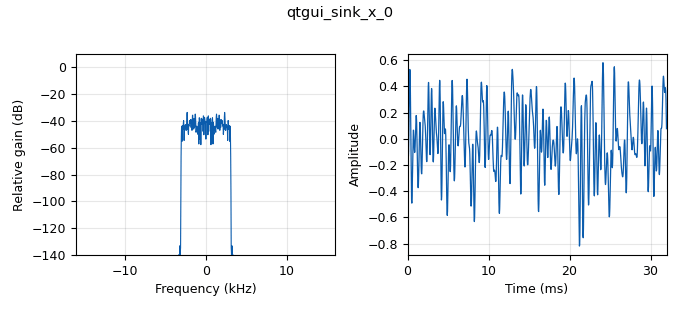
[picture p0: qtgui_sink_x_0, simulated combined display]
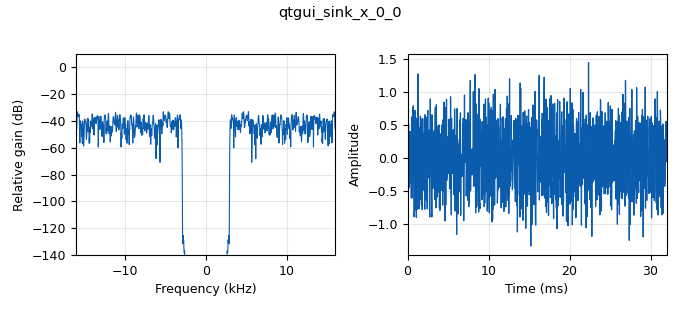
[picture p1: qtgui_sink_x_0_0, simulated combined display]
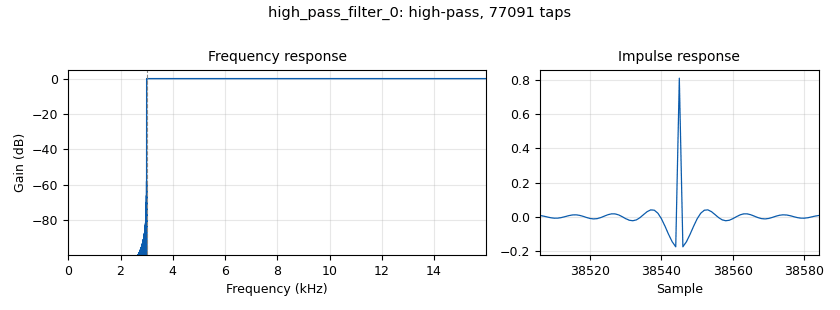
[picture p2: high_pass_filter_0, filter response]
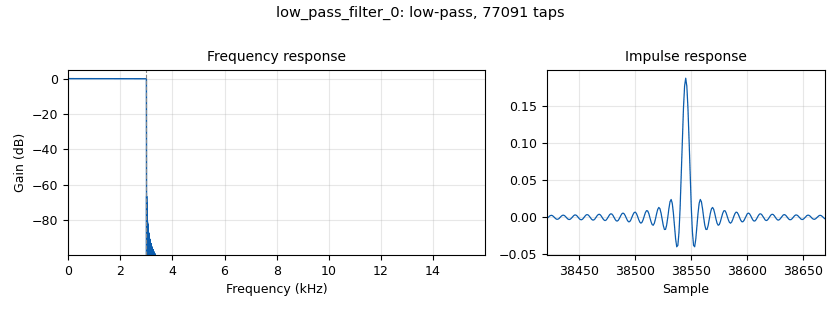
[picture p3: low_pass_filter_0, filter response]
<?xml version='1.0' encoding='utf-8'?>
<?grc format='1' created='3.7.10'?>
<flow_graph>
<block>
<key>options</key>
<param><key>id</key><value>top_block</value></param>
<param><key>category</key><value>Custom</value></param>
<param><key>generate_options</key><value>qt_gui</value></param>
</block>
<block>
<key>variable</key>
<param><key>id</key><value>samp_rate</value></param>
<param><key>value</key><value>32000</value></param>
</block>
<block>
<key>analog_noise_source_x</key>
<param><key>id</key><value>analog_noise_source_x_0</value></param>
<param><key>amp</key><value>1</value></param>
<param><key>noise_type</key><value>analog.GR_UNIFORM</value></param>
<param><key>type</key><value>float</value></param>
<param><key>seed</key><value>0</value></param>
</block>
<block>
<key>blocks_throttle</key>
<param><key>id</key><value>blocks_throttle_0</value></param>
<param><key>samples_per_second</key><value>samp_rate</value></param>
<param><key>type</key><value>float</value></param>
</block>
<block>
<key>high_pass_filter</key>
<param><key>id</key><value>high_pass_filter_0</value></param>
<param><key>cutoff_freq</key><value>3000</value></param>
<param><key>decim</key><value>1</value></param>
<param><key>type</key><value>fir_filter_fff</value></param>
<param><key>gain</key><value>1</value></param>
<param><key>samp_rate</key><value>samp_rate</value></param>
<param><key>width</key><value>1</value></param>
<param><key>win</key><value>firdes.WIN_HAMMING</value></param>
</block>
<block>
<key>low_pass_filter</key>
<param><key>id</key><value>low_pass_filter_0</value></param>
<param><key>cutoff_freq</key><value>3000</value></param>
<param><key>decim</key><value>1</value></param>
<param><key>type</key><value>fir_filter_fff</value></param>
<param><key>gain</key><value>1</value></param>
<param><key>samp_rate</key><value>samp_rate</value></param>
<param><key>width</key><value>1</value></param>
<param><key>win</key><value>firdes.WIN_HAMMING</value></param>
</block>
<block>
<key>qtgui_sink_x</key>
<param><key>id</key><value>qtgui_sink_x_0</value></param>
<param><key>bw</key><value>samp_rate</value></param>
<param><key>fc</key><value>0</value></param>
<param><key>freqchangevar</key><value>None</value></param>
<param><key>fftsize</key><value>1024</value></param>
<param><key>showports</key><value>True</value></param>
<param><key>type</key><value>float</value></param>
<param><key>wintype</key><value>firdes.WIN_BLACKMAN_hARRIS</value></param>
</block>
<block>
<key>qtgui_sink_x</key>
<param><key>id</key><value>qtgui_sink_x_0_0</value></param>
<param><key>bw</key><value>samp_rate</value></param>
<param><key>fc</key><value>0</value></param>
<param><key>freqchangevar</key><value>None</value></param>
<param><key>fftsize</key><value>1024</value></param>
<param><key>showports</key><value>True</value></param>
<param><key>type</key><value>float</value></param>
<param><key>wintype</key><value>firdes.WIN_BLACKMAN_hARRIS</value></param>
</block>
<connection><source_block_id>analog_noise_source_x_0</source_block_id><sink_block_id>blocks_throttle_0</sink_block_id><source_key>0</source_key><sink_key>0</sink_key></connection>
<connection><source_block_id>blocks_throttle_0</source_block_id><sink_block_id>high_pass_filter_0</sink_block_id><source_key>0</source_key><sink_key>0</sink_key></connection>
<connection><source_block_id>blocks_throttle_0</source_block_id><sink_block_id>low_pass_filter_0</sink_block_id><source_key>0</source_key><sink_key>0</sink_key></connection>
<connection><source_block_id>high_pass_filter_0</source_block_id><sink_block_id>qtgui_sink_x_0_0</sink_block_id><source_key>0</source_key><sink_key>0</sink_key></connection>
<connection><source_block_id>low_pass_filter_0</source_block_id><sink_block_id>qtgui_sink_x_0</sink_block_id><source_key>0</source_key><sink_key>0</sink_key></connection>
</flow_graph>
